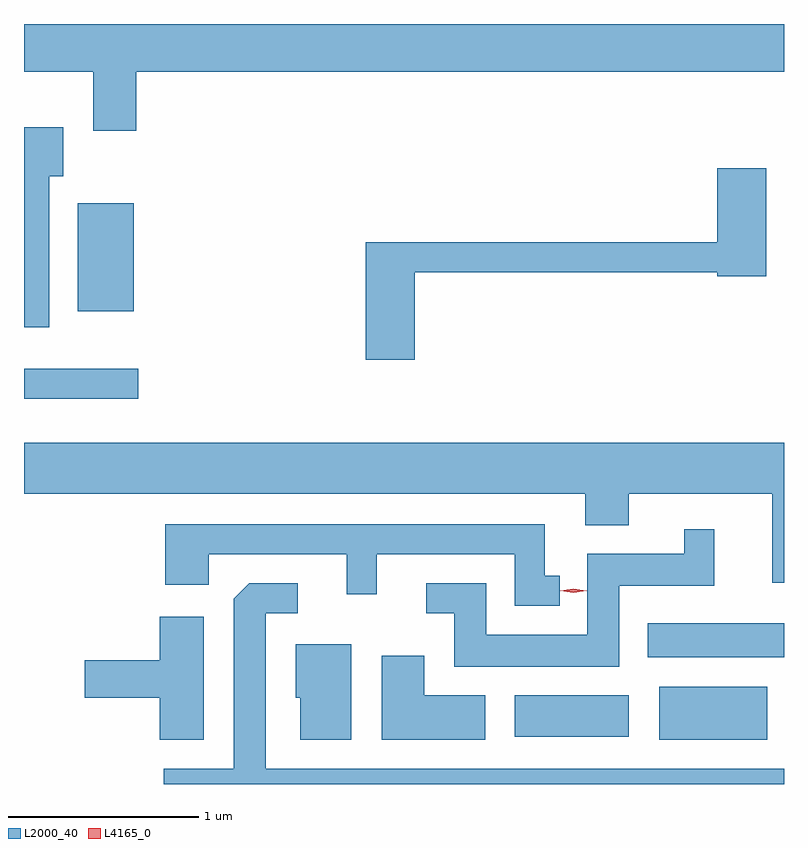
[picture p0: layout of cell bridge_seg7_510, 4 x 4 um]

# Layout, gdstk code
import gdstk
lib = gdstk.Library(unit=1e-6, precision=1e-09)
def R(c, l, rs):  # rectangles x0, y0, x1, y1
    for r in rs: c.add(gdstk.rectangle(r[:2], r[2:], *l))
def P(c, l, *ps):  # polygons
    for p in ps: c.add(gdstk.Polygon(p, *l))
L2000_40 = (2000, 40)
L4165_0 = (4165, 0)

bridge_seg7_510 = lib.new_cell('bridge_seg7_510')
R(bridge_seg7_510, L2000_40, [(1249.851,1704.141,1250.419,1704.419), (1249.091,1704.156,1249.689,1704.374), (1249.791,1704.576,1250.507,1704.754), (1246.507,1705.936,1247.108,1706.094), (1246.791,1706.396,1247.084,1706.964)])
P(bridge_seg7_510, L2000_40, [(1247.099,1707.656),(1250.507,1707.656),(1250.507,1707.908),(1246.507,1707.908),(1246.507,1707.656),(1246.871,1707.656),(1246.871,1707.346),(1247.099,1707.346)],
  [(1246.639,1707.106),(1246.714,1707.106),(1246.714,1707.364),(1246.507,1707.364),(1246.507,1706.311),(1246.639,1706.311)],
  [(1248.564,1706.601),(1250.156,1706.601),(1250.156,1706.581),(1250.414,1706.581),(1250.414,1707.149),(1250.156,1707.149),(1250.156,1706.759),(1248.306,1706.759),(1248.306,1706.141),(1248.564,1706.141)],
  [(1250.507,1705.704),(1246.507,1705.704),(1246.507,1705.436),(1249.461,1705.436),(1249.461,1705.271),(1249.689,1705.271),(1249.689,1705.436),(1250.446,1705.436),(1250.446,1704.968),(1250.507,1704.968)],
  [(1249.328,1705.004),(1249.249,1705.004),(1249.249,1705.274),(1247.251,1705.274),(1247.251,1704.956),(1247.479,1704.956),(1247.479,1705.116),(1248.206,1705.116),(1248.206,1704.908),(1248.364,1704.908),(1248.364,1705.116),(1249.091,1705.116),(1249.091,1704.846),(1249.328,1704.846)],
  [(1249.639,1704.951),(1250.139,1704.951),(1250.139,1705.248),(1249.981,1705.248),(1249.981,1705.119),(1249.471,1705.119),(1249.471,1704.694),(1248.939,1704.694),(1248.939,1704.964),(1248.623,1704.964),(1248.623,1704.806),(1248.771,1704.806),(1248.771,1704.526),(1249.639,1704.526)],
  [(1250.507,1703.989),(1247.779,1703.989),(1247.779,1704.806),(1247.948,1704.806),(1247.948,1704.964),(1247.692,1704.964),(1247.611,1704.884),(1247.611,1703.989),(1247.243,1703.989),(1247.243,1703.908),(1250.507,1703.908)],
  [(1247.454,1704.789),(1247.221,1704.789),(1247.221,1704.559),(1246.826,1704.559),(1246.826,1704.361),(1247.221,1704.361),(1247.221,1704.141),(1247.454,1704.141)],
  [(1248.229,1704.644),(1247.936,1704.644),(1247.936,1704.361),(1247.961,1704.361),(1247.961,1704.141),(1248.229,1704.141)],
  [(1248.934,1704.374),(1248.614,1704.374),(1248.614,1704.584),(1248.391,1704.584),(1248.391,1704.141),(1248.934,1704.141)])
P(bridge_seg7_510, L4165_0, [(1249.398,1704.915),(1249.329,1704.924),(1249.329,1704.925),(1249.329,1704.925),(1249.398,1704.935),(1249.468,1704.925),(1249.468,1704.924),(1249.468,1704.924)])

lib.write_gds('bridge_seg7_510.gds')
